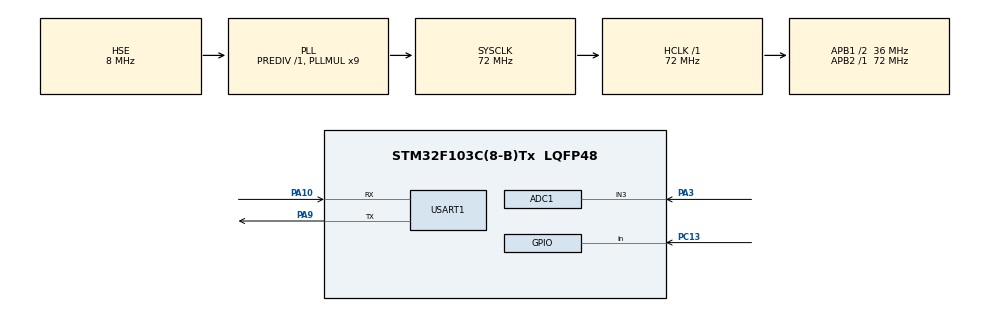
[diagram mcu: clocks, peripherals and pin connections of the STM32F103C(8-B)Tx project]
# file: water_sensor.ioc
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ADC1.Channel-14\#ChannelRegularConversion=ADC_CHANNEL_3
ADC1.NbrOfConversionFlag=1
ADC1.Rank-14\#ChannelRegularConversion=1
ADC1.SamplingTime-14\#ChannelRegularConversion=ADC_SAMPLETIME_1CYCLE_5
ADC1.master=1
Mcu.Family=STM32F1
Mcu.Name=STM32F103C(8-B)Tx
Mcu.Package=LQFP48
NVIC.PriorityGroup=NVIC_PRIORITYGROUP_4
PA10.Mode=Asynchronous
PA10.Signal=USART1_RX
PA13.Mode=Serial_Wire
PA13.Signal=SYS_JTMS-SWDIO
PA14.Mode=Serial_Wire
PA14.Signal=SYS_JTCK-SWCLK
PA3.Signal=ADCx_IN3
PA9.Mode=Asynchronous
PA9.Signal=USART1_TX
PC13-TAMPER-RTC.Signal=GPIO_Input
PD0-OSC_IN.Mode=HSE-External-Oscillator
PD0-OSC_IN.Signal=RCC_OSC_IN
PD1-OSC_OUT.Mode=HSE-External-Oscillator
PD1-OSC_OUT.Signal=RCC_OSC_OUT
ProjectManager.HeapSize=0x200
ProjectManager.StackSize=0x400
ProjectManager.TargetToolchain=MDK-ARM V5.32
RCC.ADCPresc=RCC_ADCPCLK2_DIV6
RCC.AHBFreq_Value=72000000
RCC.APB1CLKDivider=RCC_HCLK_DIV2
RCC.APB1Freq_Value=36000000
RCC.APB1TimFreq_Value=72000000
RCC.APB2Freq_Value=72000000
RCC.APB2TimFreq_Value=72000000
RCC.HCLKFreq_Value=72000000
RCC.PLLMUL=RCC_PLL_MUL9
RCC.PLLSourceVirtual=RCC_PLLSOURCE_HSE
RCC.SYSCLKFreq_VALUE=72000000
RCC.SYSCLKSource=RCC_SYSCLKSOURCE_PLLCLK
RCC.USBFreq_Value=72000000
SH.ADCx_IN3.0=ADC1_IN3,IN3
USART1.VirtualMode=VM_ASYNC
board=custom

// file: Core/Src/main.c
/* USER CODE BEGIN Header */
/**
  ******************************************************************************
  * @file           : main.c
  * @brief          : Main program body
  ******************************************************************************
  * @attention
  *
  * Copyright (c) 2023 STMicroelectronics.
  * All rights reserved.
  *
  * This software is licensed under terms that can be found in the LICENSE file
  * in the root directory of this software component.
  * If no LICENSE file comes with this software, it is provided AS-IS.
  *
  ******************************************************************************
  */
/* USER CODE END Header */
#include "main.h"
#include "adc.h"
#include "usart.h"
#include "gpio.h"

/* USER CODE BEGIN Includes */
#include <stdio.h>
/* USER CODE END Includes */

void SystemClock_Config(void);

/* USER CODE BEGIN 0 */
int fputc(int ch, FILE *file) {
	unsigned char temp[1] = {ch};
	HAL_UART_Transmit(&huart1, temp, 1, 0xfff);
	return ch;
}

uint16_t ADC_Read(uint32_t Channel)
{
	ADC_ChannelConfTypeDef sConfig = {0};
	sConfig.Channel = Channel;                                         /* 通道 */
	sConfig.Rank = ADC_REGULAR_RANK_3;
	sConfig.SamplingTime = ADC_SAMPLETIME_1CYCLE_5;                  /* 采样时间 */
	if (HAL_ADC_ConfigChannel(&hadc1, &sConfig) != HAL_OK)
	{
		Error_Handler();
	}
	HAL_ADC_Start(&hadc1);
	HAL_ADC_PollForConversion(&hadc1, HAL_MAX_DELAY);
	return (uint16_t)HAL_ADC_GetValue(&hadc1);
}

/* USER CODE END 0 */

int main(void)
{
  /* USER CODE BEGIN 1 */
	double result;
  /* USER CODE END 1 */

  /* MCU Configuration--------------------------------------------------------*/

  /* Reset of all peripherals, Initializes the Flash interface and the Systick. */
  HAL_Init();

  /* Configure the system clock */
  SystemClock_Config();

  /* Initialize all configured peripherals */
  MX_GPIO_Init();
  MX_USART1_UART_Init();
  MX_ADC1_Init();

  /* Infinite loop */
  while (1)
  {

    /* USER CODE BEGIN 3 */
		/// DO 检测
		/*
		GPIO_PinState state = HAL_GPIO_ReadPin(GPIOC, GPIO_PIN_13);
		if(state == GPIO_PIN_RESET) {
			printf("water\r\n");
		}
		*/

		result = ADC_Read(ADC_CHANNEL_3);
		printf("result = %f\r\n", 5.0/4096 * result);

		HAL_Delay(1000);

  }
  /* USER CODE END 3 */
}

void SystemClock_Config(void)
{
  RCC_OscInitTypeDef RCC_OscInitStruct = {0};
  RCC_ClkInitTypeDef RCC_ClkInitStruct = {0};
  RCC_PeriphCLKInitTypeDef PeriphClkInit = {0};

  /** Initializes the RCC Oscillators according to the specified parameters
  * in the RCC_OscInitTypeDef structure.
  */
  RCC_OscInitStruct.OscillatorType = RCC_OSCILLATORTYPE_HSE;
  RCC_OscInitStruct.HSEState = RCC_HSE_ON;
  RCC_OscInitStruct.HSEPredivValue = RCC_HSE_PREDIV_DIV1;
  RCC_OscInitStruct.HSIState = RCC_HSI_ON;
  RCC_OscInitStruct.PLL.PLLState = RCC_PLL_ON;
  RCC_OscInitStruct.PLL.PLLSource = RCC_PLLSOURCE_HSE;
  RCC_OscInitStruct.PLL.PLLMUL = RCC_PLL_MUL9;
  if (HAL_RCC_OscConfig(&RCC_OscInitStruct) != HAL_OK)
  {
    Error_Handler();
  }

  /** Initializes the CPU, AHB and APB buses clocks
  */
  RCC_ClkInitStruct.ClockType = RCC_CLOCKTYPE_HCLK|RCC_CLOCKTYPE_SYSCLK
                              |RCC_CLOCKTYPE_PCLK1|RCC_CLOCKTYPE_PCLK2;
  RCC_ClkInitStruct.SYSCLKSource = RCC_SYSCLKSOURCE_PLLCLK;
  RCC_ClkInitStruct.AHBCLKDivider = RCC_SYSCLK_DIV1;
  RCC_ClkInitStruct.APB1CLKDivider = RCC_HCLK_DIV2;
  RCC_ClkInitStruct.APB2CLKDivider = RCC_HCLK_DIV1;

  if (HAL_RCC_ClockConfig(&RCC_ClkInitStruct, FLASH_LATENCY_2) != HAL_OK)
  {
    Error_Handler();
  }
  PeriphClkInit.PeriphClockSelection = RCC_PERIPHCLK_ADC;
  PeriphClkInit.AdcClockSelection = RCC_ADCPCLK2_DIV6;
  if (HAL_RCCEx_PeriphCLKConfig(&PeriphClkInit) != HAL_OK)
  {
    Error_Handler();
  }
}

void Error_Handler(void)
{
  __disable_irq();
  while (1)
  {
  }
}
